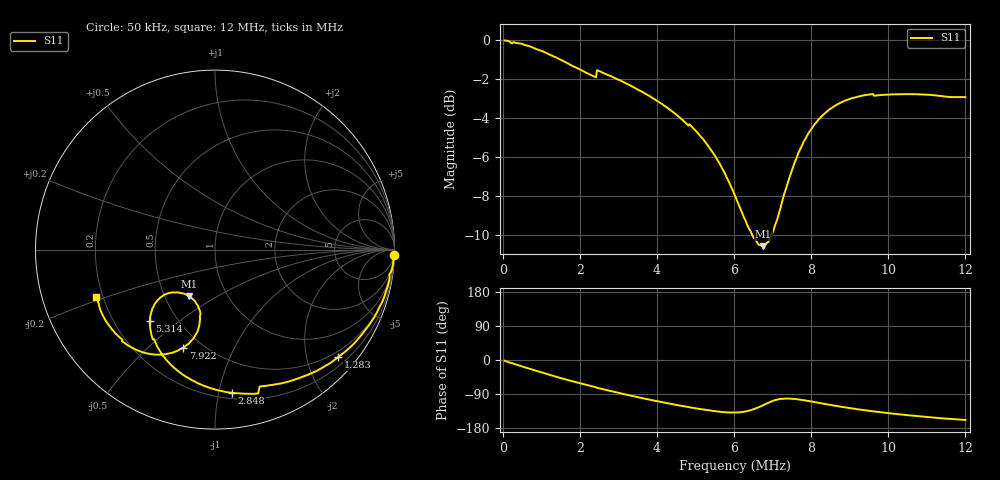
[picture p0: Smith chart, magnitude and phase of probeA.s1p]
# Hz S RI R 50
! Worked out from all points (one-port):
!   505 points, 50 kHz to 12 MHz, reference 50 ohm
!   lowest |S11| = -10.6 dB at 6.76 MHz (marker M1), VSWR 1.84, Z = 33.1 - j18.8 ohm
!   |S11| at or under -10 dB: 6.475 MHz to 6.967 MHz (491.9 kHz wide, 7.32 % of centre)
!   S11 on the Smith chart (normalised r, x): 50 kHz: 6, -63; 1.283 MHz: 0.37, -2.61; 2.848 MHz: 0.24, -1.10; 5.314 MHz: 0.35, -0.39; 7.922 MHz: 0.40, -0.65; 12 MHz: 0.17, -0.19
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50000  0.9964 -0.0311
381900  0.9562 -0.2208
642700  0.9001 -0.3538
1022100  0.7823 -0.5152
1282900  0.6855 -0.6002
1567400  0.5748 -0.6711
1994200  0.4079 -0.736
2373500  0.2665 -0.7605
2492110  0.2235 -0.8026
2847710  0.0962 -0.7984
3061110  0.025 -0.7859
3843510  -0.1897 -0.6889
4554810  -0.3133 -0.555
4886820  -0.3494 -0.49
5313620  -0.3631 -0.3975
5692920  -0.3431 -0.3189
6024920  -0.2996 -0.2637
6356820  -0.2329 -0.2381
6759920  -0.1444 -0.2589
6949520  -0.1079 -0.2946
7162920  -0.0823 -0.3498
7542330  -0.1029 -0.4661
7921630  -0.1772 -0.547
8419630  -0.2998 -0.585
9036030  -0.4313 -0.5621
9557630  -0.5127 -0.5143
1.052974e7  -0.6016 -0.4071
1.199984e7  -0.663 -0.2646
